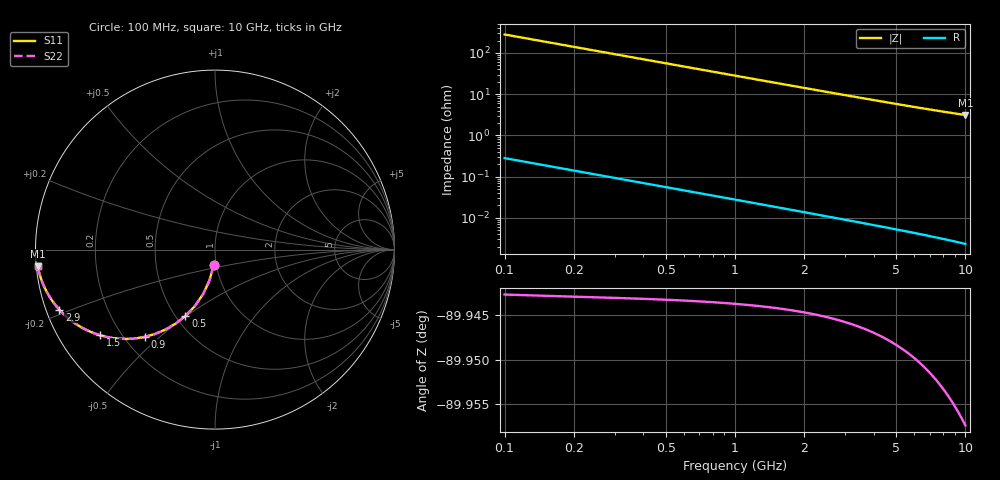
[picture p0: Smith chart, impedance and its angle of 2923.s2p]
# Hz S RI R 50.00
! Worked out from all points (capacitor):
!   100 points, 100 MHz to 10 GHz, reference 50 ohm
!   read as one part in shunt: C = 5.66 pF near 100 MHz
!   lowest |Z| = 3.13 ohm at 10 GHz (marker M1)
!   S11 on the Smith chart (normalised r, x): 100 MHz: 0.97, -0.17; 500 MHz: 0.56, -0.50; 900 MHz: 0.28, -0.45; 1.5 GHz: 0.12, -0.33; 2.9 GHz: 0.04, -0.19; 10 GHz: 0.00, -0.05
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1e8  -0.0079 -0.088  0.9921 -0.0883  0.9921 -0.0883  -0.0079 -0.088
2e8  -0.0308 -0.1719  0.9692 -0.1725  0.9692 -0.1725  -0.0308 -0.1719
3e8  -0.0665 -0.2483  0.9334 -0.2492  0.9334 -0.2492  -0.0665 -0.2483
4e8  -0.1123 -0.3147  0.8876 -0.3159  0.8876 -0.3159  -0.1123 -0.3147
5e8  -0.165 -0.37  0.835 -0.3714  0.835 -0.3714  -0.165 -0.37
6e8  -0.2213 -0.4138  0.7786 -0.4155  0.7786 -0.4155  -0.2213 -0.4138
7e8  -0.2788 -0.447  0.7211 -0.4489  0.7211 -0.4489  -0.2788 -0.447
9e8  -0.3896 -0.4859  0.6103 -0.4884  0.6103 -0.4884  -0.3896 -0.4859
1e9  -0.4406 -0.4946  0.5593 -0.4974  0.5593 -0.4974  -0.4406 -0.4946
1.2e9  -0.5312 -0.4968  0.4688 -0.5002  0.4688 -0.5002  -0.5312 -0.4968
1.5e9  -0.6387 -0.4777  0.3612 -0.482  0.3612 -0.482  -0.6387 -0.4777
1.8e9  -0.7177 -0.447  0.2822 -0.4521  0.2822 -0.4521  -0.7177 -0.447
2e9  -0.7582 -0.4248  0.2417 -0.4305  0.2417 -0.4305  -0.7582 -0.4248
2.3e9  -0.8056 -0.392  0.1944 -0.3985  0.1944 -0.3985  -0.8056 -0.392
2.6e9  -0.841 -0.3614  0.1589 -0.3688  0.1589 -0.3688  -0.841 -0.3614
2.9e9  -0.868 -0.3338  0.1319 -0.3421  0.1319 -0.3421  -0.868 -0.3338
3.4e9  -0.9003 -0.2941  0.0996 -0.3039  0.0996 -0.3039  -0.9003 -0.2941
4.2e9  -0.9324 -0.2444  0.0675 -0.2566  0.0675 -0.2566  -0.9324 -0.2444
5.1e9  -0.9532 -0.2031  0.0467 -0.218  0.0467 -0.218  -0.9532 -0.2031
6.7e9  -0.9725 -0.1527  0.0273 -0.1726  0.0273 -0.1726  -0.9725 -0.1527
8.4e9  -0.9825 -0.1172  0.0171 -0.1426  0.0171 -0.1426  -0.9825 -0.1172
1e10  -0.9877 -0.093  0.0118 -0.1239  0.0118 -0.1239  -0.9877 -0.093
